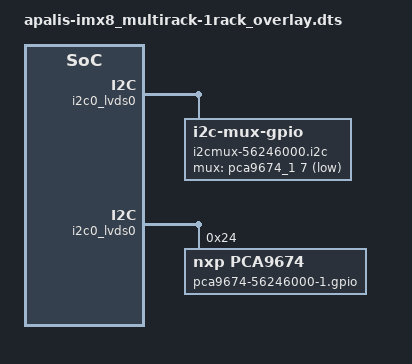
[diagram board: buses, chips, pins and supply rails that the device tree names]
#include <dt-bindings/gpio/gpio.h>

/dts-v1/;
/plugin/;
/ {
    fragment@102 {
        target-path = "/";
        __overlay__ {
            i2cmux-56246000.i2c {
                compatible = "i2c-mux-gpio";
                #address-cells = <1>;
                #size-cells = <0>;
                mux-gpios = <&pca9674_1 7 GPIO_ACTIVE_LOW>;
                i2c-parent = <&i2c0_lvds0>;

                /* Reg property output to pins, first in the list holds LSB */
                i2c@1 { /* Expectation: IOXPD at 0x24 pull low */
                    reg = <1>;
                    #address-cells = <1>;
                    #size-cells = <0>;
                };
            };
        };
    };
};

/* RCU's I2C4 */
&i2c0_lvds0 {

    /* PCA9674 8-bit IO expander on I2C4 */
    pca9674_1: gpio@24 {
        compatible = "nxp,pca9674";
        reg = <0x24>;
        gpio-controller;
        #gpio-cells = <2>;
        label = "pca9674-56246000-1.gpio";
        lines-initial-states = <0x00>;
        gpio-line-names =
            "IOXPD2_IO0_0", "IOXPD2_IO0_1", "IOXPD2_IO0_2", "IOXPD2_IO0_3", "IOXPD2_IO0_4", "IOXPD2_IO0_5", "IOXPD2_IO0_6", "IOXPD2_IO0_7";

        ioxpd_debug_line {
            gpio-hog;
            gpios = <6 GPIO_ACTIVE_HIGH>;
            output-high;
        };
    };
};
